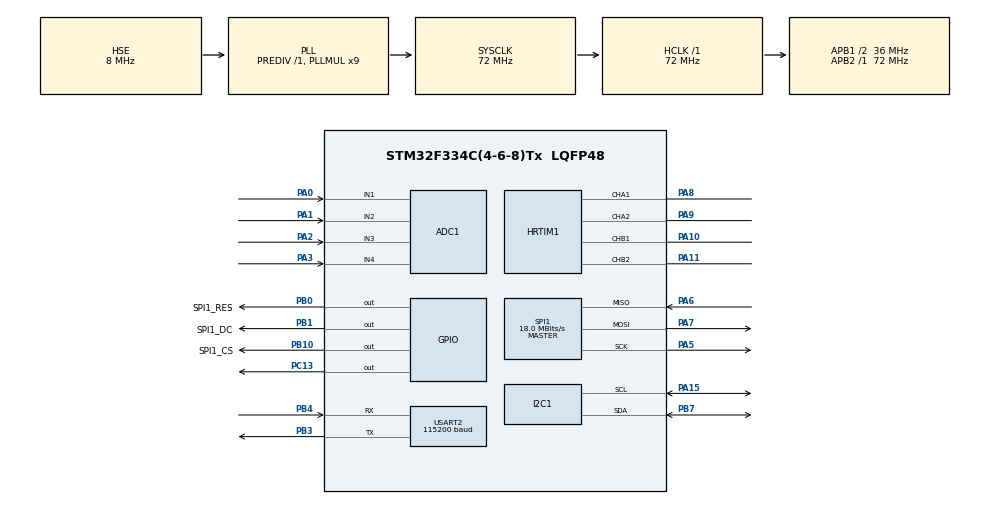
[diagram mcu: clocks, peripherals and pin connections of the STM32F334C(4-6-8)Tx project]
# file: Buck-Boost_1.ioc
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ADC1.Channel-0\#ChannelRegularConversion=ADC_CHANNEL_1
ADC1.Channel-1\#ChannelRegularConversion=ADC_CHANNEL_2
ADC1.Channel-2\#ChannelRegularConversion=ADC_CHANNEL_3
ADC1.Channel-3\#ChannelRegularConversion=ADC_CHANNEL_4
ADC1.ContinuousConvMode=ENABLE
ADC1.DMAContinuousRequests=ENABLE
ADC1.NbrOfConversion=4
ADC1.NbrOfConversionFlag=1
ADC1.Offset-0\#ChannelRegularConversion=0
ADC1.Offset-1\#ChannelRegularConversion=0
ADC1.Offset-2\#ChannelRegularConversion=0
ADC1.Offset-3\#ChannelRegularConversion=0
ADC1.OffsetNumber-0\#ChannelRegularConversion=ADC_OFFSET_NONE
ADC1.OffsetNumber-1\#ChannelRegularConversion=ADC_OFFSET_NONE
ADC1.OffsetNumber-2\#ChannelRegularConversion=ADC_OFFSET_NONE
ADC1.OffsetNumber-3\#ChannelRegularConversion=ADC_OFFSET_NONE
ADC1.Rank-0\#ChannelRegularConversion=1
ADC1.Rank-1\#ChannelRegularConversion=2
ADC1.Rank-2\#ChannelRegularConversion=3
ADC1.Rank-3\#ChannelRegularConversion=4
ADC1.SamplingTime-0\#ChannelRegularConversion=ADC_SAMPLETIME_181CYCLES_5
ADC1.SamplingTime-1\#ChannelRegularConversion=ADC_SAMPLETIME_181CYCLES_5
ADC1.SamplingTime-2\#ChannelRegularConversion=ADC_SAMPLETIME_181CYCLES_5
ADC1.SamplingTime-3\#ChannelRegularConversion=ADC_SAMPLETIME_181CYCLES_5
ADC1.master=1
Dma.ADC1.0.Direction=DMA_PERIPH_TO_MEMORY
Dma.ADC1.0.Instance=DMA1_Channel1
Dma.ADC1.0.MemDataAlignment=DMA_MDATAALIGN_HALFWORD
Dma.ADC1.0.MemInc=DMA_MINC_ENABLE
Dma.ADC1.0.Mode=DMA_CIRCULAR
Dma.ADC1.0.PeriphDataAlignment=DMA_PDATAALIGN_HALFWORD
Dma.ADC1.0.PeriphInc=DMA_PINC_DISABLE
Dma.ADC1.0.Priority=DMA_PRIORITY_LOW
Dma.Request0=ADC1
Dma.Request1=USART2_RX
Dma.Request2=USART2_TX
Dma.Request3=SPI1_TX
Dma.SPI1_TX.3.Direction=DMA_MEMORY_TO_PERIPH
Dma.SPI1_TX.3.Instance=DMA1_Channel3
Dma.SPI1_TX.3.MemDataAlignment=DMA_MDATAALIGN_BYTE
Dma.SPI1_TX.3.MemInc=DMA_MINC_ENABLE
Dma.SPI1_TX.3.Mode=DMA_NORMAL
Dma.SPI1_TX.3.PeriphDataAlignment=DMA_PDATAALIGN_BYTE
Dma.SPI1_TX.3.PeriphInc=DMA_PINC_DISABLE
Dma.SPI1_TX.3.Priority=DMA_PRIORITY_LOW
Dma.USART2_RX.1.Direction=DMA_PERIPH_TO_MEMORY
Dma.USART2_RX.1.Instance=DMA1_Channel6
Dma.USART2_RX.1.MemDataAlignment=DMA_MDATAALIGN_BYTE
Dma.USART2_RX.1.MemInc=DMA_MINC_ENABLE
Dma.USART2_RX.1.Mode=DMA_NORMAL
Dma.USART2_RX.1.PeriphDataAlignment=DMA_PDATAALIGN_BYTE
Dma.USART2_RX.1.PeriphInc=DMA_PINC_DISABLE
Dma.USART2_RX.1.Priority=DMA_PRIORITY_LOW
Dma.USART2_TX.2.Direction=DMA_MEMORY_TO_PERIPH
Dma.USART2_TX.2.Instance=DMA1_Channel7
Dma.USART2_TX.2.MemDataAlignment=DMA_MDATAALIGN_BYTE
Dma.USART2_TX.2.MemInc=DMA_MINC_ENABLE
Dma.USART2_TX.2.Mode=DMA_NORMAL
Dma.USART2_TX.2.PeriphDataAlignment=DMA_PDATAALIGN_BYTE
Dma.USART2_TX.2.PeriphInc=DMA_PINC_DISABLE
Dma.USART2_TX.2.Priority=DMA_PRIORITY_LOW
HRTIM1.CompareUnit1-MasterTimer=HRTIM_COMPAREUNIT_1
HRTIM1.CompareUnit1-Output_TA1TA2=__NULL
HRTIM1.CompareUnit1-Output_TB1TB2=__NULL
HRTIM1.CompareUnit2-MasterTimer=HRTIM_COMPAREUNIT_2
HRTIM1.CompareUnit2-Output_TB1TB2=__NULL
HRTIM1.CompareUnit3-MasterTimer=HRTIM_COMPAREUNIT_3
HRTIM1.CompareValue1-MasterTimer=14400
HRTIM1.CompareValue2-MasterTimer=28800
HRTIM1.CompareValue3-MasterTimer=14400
HRTIM1.DeadTimeInsertion-Output_TA1TA2=HRTIM_TIMDEADTIMEINSERTION_ENABLED
HRTIM1.DeadTimeInsertion-Output_TB1TB2=HRTIM_TIMDEADTIMEINSERTION_ENABLED
HRTIM1.FallingSign-Output_TB1TB2=HRTIM_TIMDEADTIME_FALLINGSIGN_POSITIVE
HRTIM1.FallingValue-Output_TA1TA2=250
HRTIM1.FallingValue-Output_TB1TB2=250
HRTIM1.NumberResetSource1-Output_TA1TA2=1
HRTIM1.NumberResetSource1-Output_TB1TB2=1
HRTIM1.NumberSetSource1-Output_TA1TA2=1
HRTIM1.NumberSetSource1-Output_TB1TB2=1
HRTIM1.Periode_MASTER=57600
HRTIM1.Periode_TA=57600
HRTIM1.Periode_TB=57600
HRTIM1.Polarity1-Output_TA1TA2=HRTIM_OUTPUTPOLARITY_LOW
HRTIM1.Polarity1-Output_TB1TB2=HRTIM_OUTPUTPOLARITY_LOW
HRTIM1.Polarity2-Output_TA1TA2=HRTIM_OUTPUTPOLARITY_LOW
HRTIM1.Polarity2-Output_TB1TB2=HRTIM_OUTPUTPOLARITY_LOW
HRTIM1.PreloadEnable-MasterTimer=HRTIM_PRELOAD_ENABLED
HRTIM1.PreloadEnable-Output_TA1TA2=HRTIM_PRELOAD_ENABLED
HRTIM1.PreloadEnable-Output_TB1TB2=HRTIM_PRELOAD_ENABLED
HRTIM1.PrescalerDead-Output_TB1TB2=HRTIM_TIMDEADTIME_PRESCALERRATIO_MUL8
HRTIM1.PrescalerRatio_MASTER=HRTIM_PRESCALERRATIO_MUL16
HRTIM1.PrescalerRatio_TA=HRTIM_PRESCALERRATIO_MUL16
HRTIM1.PrescalerRatio_TB=HRTIM_PRESCALERRATIO_MUL16
HRTIM1.RepetitionUpdate-MasterTimer=HRTIM_UPDATEONREPETITION_ENABLED
HRTIM1.RepetitionUpdate-Output_TA1TA2=HRTIM_UPDATEONREPETITION_ENABLED
HRTIM1.RepetitionUpdate-Output_TB1TB2=HRTIM_UPDATEONREPETITION_ENABLED
HRTIM1.ResetOutput1_Source1-Output_TA1TA2=HRTIM_OUTPUTRESET_MASTERCMP1
HRTIM1.ResetOutput1_Source1-Output_TB1TB2=HRTIM_OUTPUTRESET_MASTERCMP3
HRTIM1.RisingSign-Output_TB1TB2=HRTIM_TIMDEADTIME_RISINGSIGN_POSITIVE
HRTIM1.RisingValue-Output_TA1TA2=250
HRTIM1.RisingValue-Output_TB1TB2=250
HRTIM1.SetOutput1_Source1-Output_TA1TA2=HRTIM_OUTPUTSET_MASTERPER
HRTIM1.SetOutput1_Source1-Output_TB1TB2=HRTIM_OUTPUTSET_MASTERCMP2
Mcu.Family=STM32F3
Mcu.Name=STM32F334C(4-6-8)Tx
Mcu.Package=LQFP48
NVIC.DMA1_Channel1_IRQn=true\:0\:0\:false\:false\:true\:false\:true\:true
NVIC.DMA1_Channel3_IRQn=true\:0\:0\:false\:false\:true\:false\:true\:true
NVIC.DMA1_Channel6_IRQn=true\:0\:0\:false\:false\:true\:false\:true\:true
NVIC.DMA1_Channel7_IRQn=true\:0\:0\:false\:false\:true\:false\:true\:true
NVIC.PriorityGroup=NVIC_PRIORITYGROUP_4
NVIC.TIM3_IRQn=true\:0\:0\:false\:false\:true\:true\:true\:true
NVIC.USART2_IRQn=true\:0\:0\:false\:false\:true\:true\:true\:true
PA0.Mode=IN1-Single-Ended
PA0.Signal=ADC1_IN1
PA1.Mode=IN2-Single-Ended
PA1.Signal=ADC1_IN2
PA10.Mode=Output_TB1TB2
PA10.Signal=HRTIM1_CHB1
PA11.Mode=Output_TB1TB2
PA11.Signal=HRTIM1_CHB2
PA13.Mode=Serial_Wire
PA13.Signal=SYS_JTMS-SWDIO
PA14.Mode=Serial_Wire
PA14.Signal=SYS_JTCK-SWCLK
PA15.Mode=I2C
PA15.Signal=I2C1_SCL
PA2.Mode=IN3-Single-Ended
PA2.Signal=ADC1_IN3
PA3.Mode=IN4-Single-Ended
PA3.Signal=ADC1_IN4
PA5.Mode=Full_Duplex_Master
PA5.Signal=SPI1_SCK
PA6.Mode=Full_Duplex_Master
PA6.Signal=SPI1_MISO
PA7.Mode=Full_Duplex_Master
PA7.Signal=SPI1_MOSI
PA8.Mode=Output_TA1TA2
PA8.Signal=HRTIM1_CHA1
PA9.Mode=Output_TA1TA2
PA9.Signal=HRTIM1_CHA2
PB0.GPIO_Label=SPI1_RES
PB0.Signal=GPIO_Output
PB1.GPIO_Label=SPI1_DC
PB1.Signal=GPIO_Output
PB10.GPIO_Label=SPI1_CS
PB10.Signal=GPIO_Output
PB3.Mode=Asynchronous
PB3.Signal=USART2_TX
PB4.Mode=Asynchronous
PB4.Signal=USART2_RX
PB7.Mode=I2C
PB7.Signal=I2C1_SDA
PC13.Signal=GPIO_Output
PF0\ /\ OSC_IN.Mode=HSE-External-Oscillator
PF0\ /\ OSC_IN.Signal=RCC_OSC_IN
PF1\ /\ OSC_OUT.Mode=HSE-External-Oscillator
PF1\ /\ OSC_OUT.Signal=RCC_OSC_OUT
ProjectManager.HeapSize=0x200
ProjectManager.StackSize=0x400
ProjectManager.TargetToolchain=MDK-ARM V5.32
RCC.AHBFreq_Value=72000000
RCC.APB1CLKDivider=RCC_HCLK_DIV2
RCC.APB1Freq_Value=36000000
RCC.APB1TimFreq_Value=72000000
RCC.APB2Freq_Value=72000000
RCC.APB2TimFreq_Value=72000000
RCC.CortexFreq_Value=72000000
RCC.HCLKFreq_Value=72000000
RCC.HRTIMSelection=RCC_HRTIM1CLK_PLLCLK
RCC.HSE_VALUE=8000000
RCC.HSI_VALUE=8000000
RCC.LSE_VALUE=32768
RCC.PLLMUL=RCC_PLL_MUL9
RCC.PLLSourceVirtual=RCC_PLLSOURCE_HSE
RCC.SYSCLKFreq_VALUE=72000000
RCC.SYSCLKSourceVirtual=RCC_SYSCLKSOURCE_PLLCLK
SPI1.BaudRatePrescaler=SPI_BAUDRATEPRESCALER_4
SPI1.CalculateBaudRate=18.0 MBits/s
SPI1.Direction=SPI_DIRECTION_2LINES
SPI1.Mode=SPI_MODE_MASTER
SPI1.VirtualType=VM_MASTER
TIM3.AutoReloadPreload=TIM_AUTORELOAD_PRELOAD_ENABLE
TIM3.Period=100-1
TIM3.Prescaler=72-1
USART2.BaudRate=115200
USART2.VirtualMode-Asynchronous=VM_ASYNC
VP_HRTIM1_VS_hrtimMasterTimerNoOutput.Mode=MasterTimer
VP_TIM3_VS_ClockSourceINT.Mode=Internal
board=custom

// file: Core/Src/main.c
/* USER CODE BEGIN Header */
/**
  ******************************************************************************
  * @file           : main.c
  * @brief          : Main program body
  ******************************************************************************
  * @attention
  *
  * Copyright (c) 2024 STMicroelectronics.
  * All rights reserved.
  *
  * This software is licensed under terms that can be found in the LICENSE file
  * in the root directory of this software component.
  * If no LICENSE file comes with this software, it is provided AS-IS.
  *
  ******************************************************************************
  */
/* USER CODE END Header */
#include "main.h"
#include "adc.h"
#include "dma.h"
#include "hrtim.h"
#include "i2c.h"
#include "spi.h"
#include "tim.h"
#include "usart.h"
#include "gpio.h"

/* USER CODE BEGIN Includes */
#include "PID.h"
#include "Serial.h"
/* USER CODE END Includes */

/* USER CODE BEGIN PD */
#define HRTIM1_MASTER_TIMER_PERIOD 57600
#define PHASE_SHIFT 14400
#define MAX_VOLTAGE ((float)42.3)
#define BASE_VOLTAGE ((float)18.5)
#define VOLTAGE_OUT_LINEAR_A (0.0102601752)
#define VOLTAGE_OUT_LINEAR_B (0.5932726908)
#define CURRENT_OUT_LINEAR_A (-0.004751058)
#define CURRENT_OUT_LINEAR_B (12.48739301)
#define CURRENT_IN_LINEAR_A (-0.005096203)
#define CURRENT_IN_LINEAR_B (13.41522621)
#define CURRENT_ADC_FILTER 30
#define VOLTAGE_OFFSET 0.5
/* USER CODE END PD */

/* USER CODE BEGIN PV */
extern uint8_t RX_Data[6];		//RX_Data [0~3]=Data [4]=AddressNumber [5]=Flag
extern float * RX_Addr[7];
PID pid_voltage, pid_current;
extern Serial_TX_Buffer_Typedef Serial_TX_Buffer;
//extern Serial_RX_Buffer_Typedef Serial_RX_Buffer;		//not used
uint16_t ADC_Buffer[4];
float duty1, duty2;
float Voltage_Out_Set = 5;
float Voltage_Out;
float Voltage_In;
float ctrl = 5;
float Current_Out, Current_In;
float Current_Out_Set, Current_In_Set;
uint8_t mode;
float mode_f;
/*
mode = 0: output voltage
mode = 1: output current
mode = 2: input current
*/
uint8_t mode_changed_flag;

/* USER CODE END PV */

void SystemClock_Config(void);

int main(void)
{

  /* MCU Configuration--------------------------------------------------------*/

  /* Reset of all peripherals, Initializes the Flash interface and the Systick. */
  HAL_Init();

  /* Configure the system clock */
  SystemClock_Config();

  /* Initialize all configured peripherals */
  MX_GPIO_Init();
  MX_DMA_Init();
  MX_HRTIM1_Init();
  MX_ADC1_Init();
  MX_I2C1_Init();
  MX_SPI1_Init();
  MX_TIM3_Init();
  MX_USART2_UART_Init();
  /* USER CODE BEGIN 2 */

	HAL_ADCEx_Calibration_Start(&hadc1, ADC_SINGLE_ENDED);
	HAL_Delay(200);
	HAL_ADC_Start_DMA(&hadc1,(uint32_t *)ADC_Buffer,sizeof(uint16_t)*4);

	RX_Addr[0] = &Voltage_Out_Set;
	RX_Addr[1] = &(pid_voltage.kp);
	RX_Addr[2] = &(pid_voltage.ki);
	RX_Addr[3] = &(pid_voltage.kd);
	RX_Addr[4] = &mode_f;
	RX_Addr[5] = &Current_Out_Set;
	RX_Addr[6] = &Current_In_Set;

	pid_voltage.kp=0.04;
	pid_voltage.ki=0;
	pid_voltage.kd=0.12;
	pid_voltage.max_integral=MAX_VOLTAGE;
	pid_voltage.max_output=MAX_VOLTAGE;

	pid_current.kp=0.06;
	pid_current.ki=0;
	pid_current.kd=0.04;
	pid_current.max_integral=MAX_VOLTAGE;
	pid_current.max_output=MAX_VOLTAGE;

	HAL_UARTEx_ReceiveToIdle_DMA(&huart2, RX_Data, 6);

	HAL_HRTIM_WaveformOutputStart(&hhrtim1, HRTIM_OUTPUT_TA1 | HRTIM_OUTPUT_TA2 | HRTIM_OUTPUT_TB1 | HRTIM_OUTPUT_TB2);
	HAL_HRTIM_WaveformCounterStart(&hhrtim1, HRTIM_TIMERID_MASTER | HRTIM_TIMERID_TIMER_A | HRTIM_TIMERID_TIMER_B);
	HAL_TIM_Base_Start_IT(&htim3);

  /* USER CODE END 2 */

  /* Infinite loop */
  while (1)
  {

  }
}

void SystemClock_Config(void)
{
  RCC_OscInitTypeDef RCC_OscInitStruct = {0};
  RCC_ClkInitTypeDef RCC_ClkInitStruct = {0};
  RCC_PeriphCLKInitTypeDef PeriphClkInit = {0};

  /** Initializes the RCC Oscillators according to the specified parameters
  * in the RCC_OscInitTypeDef structure.
  */
  RCC_OscInitStruct.OscillatorType = RCC_OSCILLATORTYPE_HSI|RCC_OSCILLATORTYPE_HSE;
  RCC_OscInitStruct.HSEState = RCC_HSE_ON;
  RCC_OscInitStruct.HSEPredivValue = RCC_HSE_PREDIV_DIV1;
  RCC_OscInitStruct.HSIState = RCC_HSI_ON;
  RCC_OscInitStruct.HSICalibrationValue = RCC_HSICALIBRATION_DEFAULT;
  RCC_OscInitStruct.PLL.PLLState = RCC_PLL_ON;
  RCC_OscInitStruct.PLL.PLLSource = RCC_PLLSOURCE_HSE;
  RCC_OscInitStruct.PLL.PLLMUL = RCC_PLL_MUL9;
  if (HAL_RCC_OscConfig(&RCC_OscInitStruct) != HAL_OK)
  {
    Error_Handler();
  }

  /** Initializes the CPU, AHB and APB buses clocks
  */
  RCC_ClkInitStruct.ClockType = RCC_CLOCKTYPE_HCLK|RCC_CLOCKTYPE_SYSCLK
                              |RCC_CLOCKTYPE_PCLK1|RCC_CLOCKTYPE_PCLK2;
  RCC_ClkInitStruct.SYSCLKSource = RCC_SYSCLKSOURCE_PLLCLK;
  RCC_ClkInitStruct.AHBCLKDivider = RCC_SYSCLK_DIV1;
  RCC_ClkInitStruct.APB1CLKDivider = RCC_HCLK_DIV2;
  RCC_ClkInitStruct.APB2CLKDivider = RCC_HCLK_DIV1;

  if (HAL_RCC_ClockConfig(&RCC_ClkInitStruct, FLASH_LATENCY_2) != HAL_OK)
  {
    Error_Handler();
  }
  PeriphClkInit.PeriphClockSelection = RCC_PERIPHCLK_HRTIM1|RCC_PERIPHCLK_I2C1
                              |RCC_PERIPHCLK_ADC12;
  PeriphClkInit.Adc12ClockSelection = RCC_ADC12PLLCLK_DIV1;
  PeriphClkInit.I2c1ClockSelection = RCC_I2C1CLKSOURCE_HSI;
  PeriphClkInit.Hrtim1ClockSelection = RCC_HRTIM1CLK_PLLCLK;
  if (HAL_RCCEx_PeriphCLKConfig(&PeriphClkInit) != HAL_OK)
  {
    Error_Handler();
  }
}

/* USER CODE BEGIN 4 */
void HAL_TIM_PeriodElapsedCallback(TIM_HandleTypeDef *htim)
{
	static uint16_t Tx_Counter;
	static uint16_t Current_ADC_Filter_Counter;
	static uint32_t Current_Out_ADC_Buffer, Current_In_ADC_Buffer;
	if(htim->Instance == TIM3)
	{
		HAL_GPIO_WritePin(GPIOC, GPIO_PIN_13, GPIO_PIN_SET);

//		Voltage_Out = ADC_Buffer[0]*MAX_VOLTAGE/4095;
		Voltage_Out = ADC_Buffer[0] * VOLTAGE_OUT_LINEAR_A + VOLTAGE_OUT_LINEAR_B;
		Voltage_In = ADC_Buffer[1]*MAX_VOLTAGE/4095 + VOLTAGE_OFFSET;

		Current_Out_ADC_Buffer += ADC_Buffer[2];
		Current_In_ADC_Buffer += ADC_Buffer[3];
		Current_ADC_Filter_Counter++;
		if(Current_ADC_Filter_Counter == CURRENT_ADC_FILTER)
		{
			Current_ADC_Filter_Counter = 0;
//			Current_Out = ((float)ADC_Buffer[2]/4095*3.3-2.5)/-0.185;
//			Current_In = ((float)ADC_Buffer[2]/4095*3.3-2.5)/-0.185;
			Current_Out = (float)Current_Out_ADC_Buffer / CURRENT_ADC_FILTER * CURRENT_OUT_LINEAR_A + CURRENT_OUT_LINEAR_B;
			Current_In = (float)Current_In_ADC_Buffer / CURRENT_ADC_FILTER * CURRENT_IN_LINEAR_A + CURRENT_IN_LINEAR_B;
//			Current_Out = (float)Current_Out_ADC_Buffer / CURRENT_ADC_FILTER;
//			Current_In = (float)Current_In_ADC_Buffer / CURRENT_ADC_FILTER;
			Current_Out_ADC_Buffer = 0;
			Current_In_ADC_Buffer = 0;
		}

		if(mode != (int)mode_f)
		{
			mode = mode_f;
			mode_changed_flag = 1;
			pid_voltage.integral = 0;
			pid_current.integral = 0;

			if(mode == 0)
			{
				RX_Addr[1] = &(pid_voltage.kp);
				RX_Addr[2] = &(pid_voltage.ki);
				RX_Addr[3] = &(pid_voltage.kd);
			}
			if(mode == 1 || mode == 2)
			{
				RX_Addr[1] = &(pid_current.kp);
				RX_Addr[2] = &(pid_current.ki);
				RX_Addr[3] = &(pid_current.kd);
			}
		}

		if(mode == 0)
		{
			if(mode_changed_flag)
			{
				pid_voltage.last_error =	Voltage_Out_Set - Voltage_Out;
				mode_changed_flag = 0;
			}

			PID_Calc(&pid_voltage, Voltage_Out_Set - Voltage_Out);
			ctrl += pid_voltage.output;

//			ctrl = Voltage_Out_Set;  //***************************** TEST CODE *****************************

			LIMIT(ctrl, 0.5f, 2*MAX_VOLTAGE);
		}
		if(mode == 1)
		{
			if(mode_changed_flag)
			{
				pid_current.last_error =	Current_Out_Set - Current_Out;
				mode_changed_flag = 0;
			}

			PID_Calc(&pid_current, Current_Out_Set - Current_Out);
			ctrl += pid_current.output;

			LIMIT(ctrl, 0.5f, 2*MAX_VOLTAGE);
		}
		if(mode == 2)
		{
			if(mode_changed_flag)
			{
				pid_current.last_error =	Current_In_Set - Current_In;
				mode_changed_flag = 0;
			}

			PID_Calc(&pid_current, Current_In_Set - Current_In);
			ctrl += pid_current.output;

			LIMIT(ctrl, 0.5f, 2*MAX_VOLTAGE);
		}

		if(ctrl <= BASE_VOLTAGE)
		{
			duty2 = 0.05;
			duty1 = ctrl / (BASE_VOLTAGE / (1-duty2) );
			LIMIT(duty1, 0.05f, 0.95f);
		}
		else
		{
			duty1 = 0.95;
			duty2 = 1 - (duty1 * BASE_VOLTAGE) / ctrl;
			LIMIT(duty2, 0.05f, 0.57f);
		}
		__HAL_HRTIM_SETCOMPARE(&hhrtim1, HRTIM_TIMERINDEX_MASTER, HRTIM_COMPAREUNIT_1, duty1*HRTIM1_MASTER_TIMER_PERIOD);
		__HAL_HRTIM_SETCOMPARE(&hhrtim1, HRTIM_TIMERINDEX_MASTER, HRTIM_COMPAREUNIT_2, duty2*HRTIM1_MASTER_TIMER_PERIOD + PHASE_SHIFT);

		Tx_Counter++;
		if(Tx_Counter==300)
		{
			Tx_Counter=0;

			if(mode == 0)
			{
				Serial_TX_Buffer.TX_Data[0] = Voltage_Out;
				Serial_TX_Buffer.TX_Data[1] = Voltage_Out_Set;
				Serial_TX_Buffer.TX_Data[2] = Current_Out;
				Serial_TX_Buffer.TX_Data[3] = Current_In;
//				Serial_TX_Buffer.TX_Data[2] = ADC_Buffer[2];
//				Serial_TX_Buffer.TX_Data[3] = ADC_Buffer[3];
			}
			if(mode == 1)
			{
				Serial_TX_Buffer.TX_Data[0] = Current_Out;
				Serial_TX_Buffer.TX_Data[1] = Current_Out_Set;
				Serial_TX_Buffer.TX_Data[2] = Voltage_Out;
				Serial_TX_Buffer.TX_Data[3] = ctrl;
			}
			if(mode == 2)
			{
				Serial_TX_Buffer.TX_Data[0] = Current_In;
				Serial_TX_Buffer.TX_Data[1] = Current_In_Set;
				Serial_TX_Buffer.TX_Data[2] = Voltage_Out;
				Serial_TX_Buffer.TX_Data[3] = ctrl;
			}

			HAL_UART_Transmit_DMA(&huart2,(uint8_t *)&Serial_TX_Buffer,sizeof(Serial_TX_Buffer));
		}

		HAL_GPIO_WritePin(GPIOC, GPIO_PIN_13, GPIO_PIN_RESET);
	}
}

/* USER CODE END 4 */

void Error_Handler(void)
{
  __disable_irq();
  while (1)
  {
  }
}
